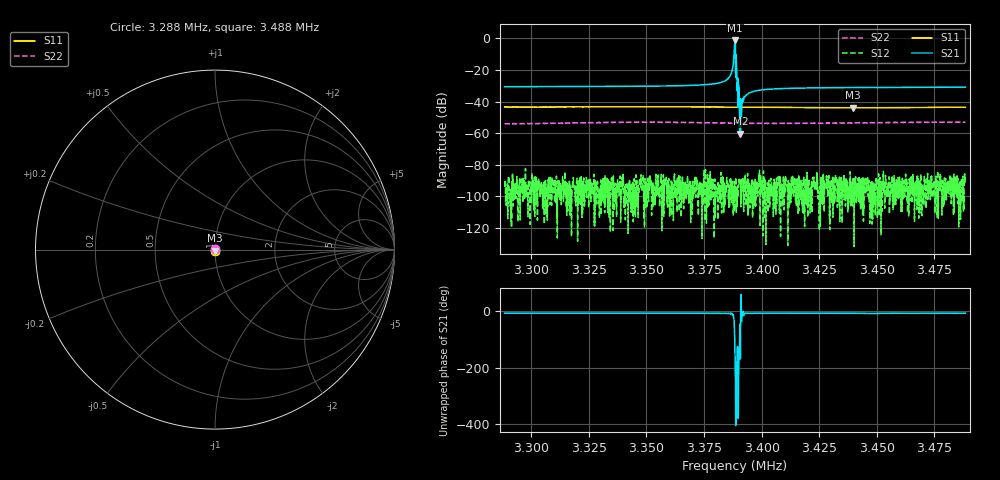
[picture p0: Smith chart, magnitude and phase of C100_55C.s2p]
# Hz S dB R 50.000
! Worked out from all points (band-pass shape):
!   6401 points, 3.288 MHz to 3.488 MHz, reference 50 ohm
!   highest |S21| = -1.42 dB at 3.388 MHz (marker M1); lowest = -60.4 dB at 3.391 MHz (marker M2)
!   |S21| within 3 dB of the highest: 3.388264 MHz to 3.388303 MHz (39.66 Hz wide, 0.00117 % of centre); 3.388348 MHz to 3.388499 MHz (150.9 Hz wide, 0.00445 % of centre)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
!   lowest |S11| = -44.0 dB at 3.44 MHz (marker M3), VSWR 1.01, Z = 50 - j0.631 ohm
!   |S11| at or under -10 dB: start of sweep to end of sweep
!   |S22| runs from -54.2 to -52.9 dB; largest |S21 - S12| = 0.85
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3288438  -43.46 -92.8  -30.63 -7.1  -92.76 48.9  -54.08 103.3
3321782  -43.42 -94.5  -30.53 -7.0  -89.90 43.5  -53.44 106.0
3355126  -43.36 -94.8  -30.23 -7.3  -88.25 2.9  -52.99 105.1
3382876  -43.50 -93.1  -27.59 -7.7  -94.30 -135.8  -53.50 100.2
3386063  -43.55 -92.8  -24.41 -7.9  -100.72 163.4  -53.76 99.5
3386907  -43.51 -92.9  -21.92 -8.0  -104.07 -162.1  -53.67 100.0
3387313  -43.57 -92.8  -19.43 -11.6  -95.45 -13.8  -53.77 100.0
3387657  -43.55 -92.7  -17.30 -12.7  -96.68 -115.4  -53.68 98.6
3388157  -43.55 -92.8  -6.87 -55.1  -94.94 65.1  -53.92 102.1
3388438  -43.52 -93.0  -1.42 -144.8  -99.35 -59.1  -53.00 103.5
3389188  -43.53 -92.7  -20.94 170.7  -96.47 83.0  -53.55 98.0
3389813  -43.56 -92.7  -40.16 -16.3  -93.84 36.1  -53.63 99.9
3390250  -43.57 -92.8  -36.72 -149.5  -92.64 43.2  -53.63 99.1
3390813  -43.55 -92.6  -60.36 -119.9  -92.47 4.7  -53.52 99.4
3391376  -43.57 -92.8  -43.96 -24.5  -96.63 -13.0  -53.74 98.3
3392407  -43.53 -92.3  -36.98 -8.2  -103.03 -178.9  -53.65 99.1
3393250  -43.58 -92.4  -35.97 -6.2  -98.09 -55.2  -53.74 98.9
3397000  -43.61 -92.3  -33.45 -7.3  -100.78 103.7  -53.75 98.3
3421782  -43.85 -92.0  -31.40 -7.4  -94.20 -167.9  -53.68 98.8
3439688  -43.98 -92.6  -31.13 -7.3  -90.71 16.3  -53.50 102.2
3455126  -43.88 -92.2  -31.11 -7.4  -95.25 -20.9  -53.40 102.4
3488438  -43.55 -91.2  -30.90 -7.4  -89.27 -11.3  -52.85 103.2
